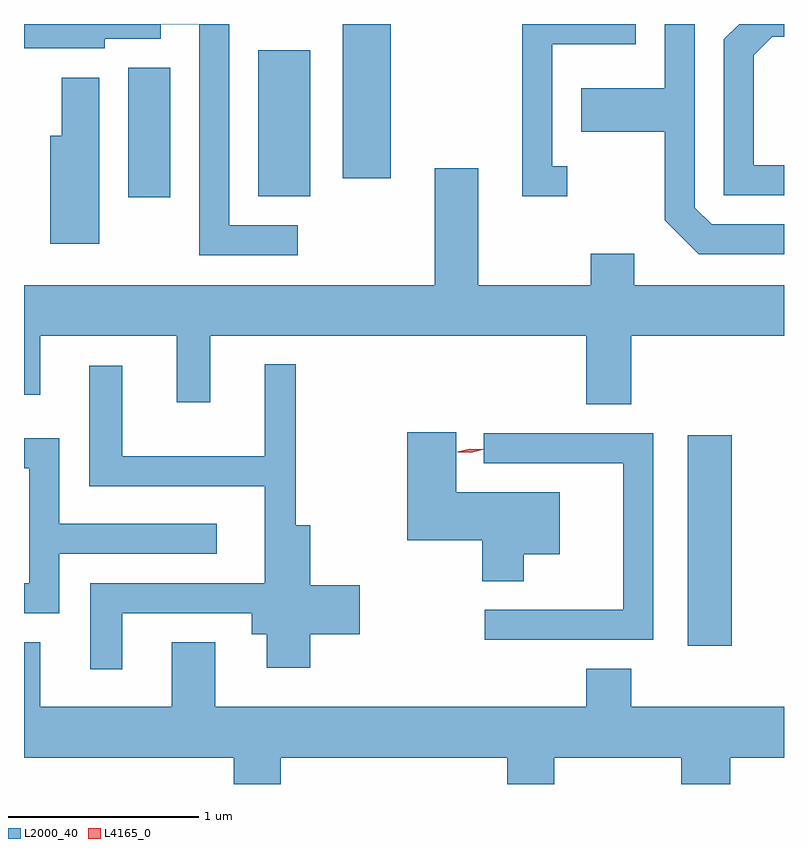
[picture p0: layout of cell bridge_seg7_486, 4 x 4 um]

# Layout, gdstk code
import gdstk
lib = gdstk.Library(unit=1e-6, precision=1e-09)
def R(c, l, rs):  # rectangles x0, y0, x1, y1
    for r in rs: c.add(gdstk.rectangle(r[:2], r[2:], *l))
def P(c, l, *ps):  # polygons
    for p in ps: c.add(gdstk.Polygon(p, *l))
L2000_40 = (2000, 40)
L4165_0 = (4165, 0)

bridge_seg7_486 = lib.new_cell('bridge_seg7_486')
R(bridge_seg7_486, L2000_40, [(1332.661,1730.446,1332.894,1731.554), (1329.716,1732.806,1329.939,1733.489), (1330.401,1732.811,1330.674,1733.579), (1330.846,1732.906,1331.099,1733.718)])
P(bridge_seg7_486, L2000_40, [(1333.168,1732.974),(1333.009,1732.974),(1333.009,1733.554),(1333.107,1733.651),(1333.168,1733.651),(1333.168,1733.718),(1332.932,1733.718),(1332.851,1733.637),(1332.851,1732.816),(1333.168,1732.816)],
  [(1333.168,1732.664),(1332.787,1732.664),(1332.699,1732.752),(1332.699,1733.718),(1332.541,1733.718),(1332.541,1733.379),(1332.101,1733.379),(1332.101,1733.151),(1332.541,1733.151),(1332.541,1732.684),(1332.719,1732.506),(1333.168,1732.506)],
  [(1332.028,1732.969),(1331.949,1732.969),(1331.949,1733.611),(1332.389,1733.611),(1332.389,1733.718),(1331.791,1733.718),(1331.791,1732.811),(1332.028,1732.811)],
  [(1330.608,1732.659),(1330.249,1732.659),(1330.249,1733.718),(1329.168,1733.718),(1329.168,1733.591),(1329.594,1733.591),(1329.594,1733.641),(1329.889,1733.641),(1329.889,1733.716),(1330.091,1733.716),(1330.091,1732.501),(1330.608,1732.501)],
  [(1329.564,1733.434),(1329.366,1733.434),(1329.366,1733.129),(1329.306,1733.129),(1329.306,1732.561),(1329.564,1732.561)],
  [(1332.364,1732.076),(1333.168,1732.076),(1333.168,1732.344),(1332.379,1732.344),(1332.379,1732.509),(1332.151,1732.509),(1332.151,1732.344),(1331.559,1732.344),(1331.559,1732.959),(1331.331,1732.959),(1331.331,1732.344),(1329.168,1732.344),(1329.168,1731.766),(1329.254,1731.766),(1329.254,1732.076),(1329.971,1732.076),(1329.971,1731.726),(1330.149,1731.726),(1330.149,1732.076),(1332.126,1732.076),(1332.126,1731.716),(1332.364,1731.716)],
  [(1329.684,1730.616),(1330.366,1730.616),(1330.366,1730.506),(1330.446,1730.506),(1330.446,1730.331),(1330.674,1730.331),(1330.674,1730.506),(1330.934,1730.506),(1330.934,1730.764),(1330.674,1730.764),(1330.674,1731.079),(1330.599,1731.079),(1330.599,1731.928),(1330.436,1731.928),(1330.436,1731.444),(1329.684,1731.444),(1329.684,1731.919),(1329.511,1731.919),(1329.511,1731.286),(1330.436,1731.286),(1330.436,1730.774),(1329.516,1730.774),(1329.516,1730.323),(1329.684,1730.323)],
  [(1331.799,1730.926),(1331.989,1730.926),(1331.989,1731.254),(1331.444,1731.254),(1331.444,1731.569),(1331.186,1731.569),(1331.186,1731.001),(1331.581,1731.001),(1331.581,1730.786),(1331.799,1730.786)],
  [(1332.479,1731.564),(1331.588,1731.564),(1331.588,1731.406),(1332.321,1731.406),(1332.321,1730.634),(1331.593,1730.634),(1331.593,1730.476),(1332.479,1730.476)],
  [(1329.354,1730.931),(1330.183,1730.931),(1330.183,1731.089),(1329.354,1731.089),(1329.354,1731.539),(1329.168,1731.539),(1329.168,1731.381),(1329.196,1731.381),(1329.196,1730.774),(1329.168,1730.774),(1329.168,1730.616),(1329.354,1730.616)],
  [(1330.519,1729.856),(1331.711,1729.856),(1331.711,1729.718),(1331.959,1729.718),(1331.959,1729.856),(1332.626,1729.856),(1332.626,1729.718),(1332.884,1729.718),(1332.884,1729.856),(1333.168,1729.856),(1333.168,1730.124),(1332.364,1730.124),(1332.364,1730.324),(1332.126,1730.324),(1332.126,1730.124),(1330.174,1730.124),(1330.174,1730.464),(1329.946,1730.464),(1329.946,1730.124),(1329.254,1730.124),(1329.254,1730.464),(1329.168,1730.464),(1329.168,1729.856),(1330.271,1729.856),(1330.271,1729.718),(1330.519,1729.718)])
P(bridge_seg7_486, L4165_0, [(1331.518,1731.463),(1331.448,1731.466),(1331.448,1731.466),(1331.448,1731.467),(1331.516,1731.483),(1331.585,1731.48),(1331.586,1731.48),(1331.585,1731.479)],
  [(1331.518,1731.461),(1331.451,1731.464),(1331.45,1731.465),(1331.451,1731.465),(1331.516,1731.481),(1331.582,1731.478),(1331.583,1731.477),(1331.582,1731.477)])

lib.write_gds('bridge_seg7_486.gds')
